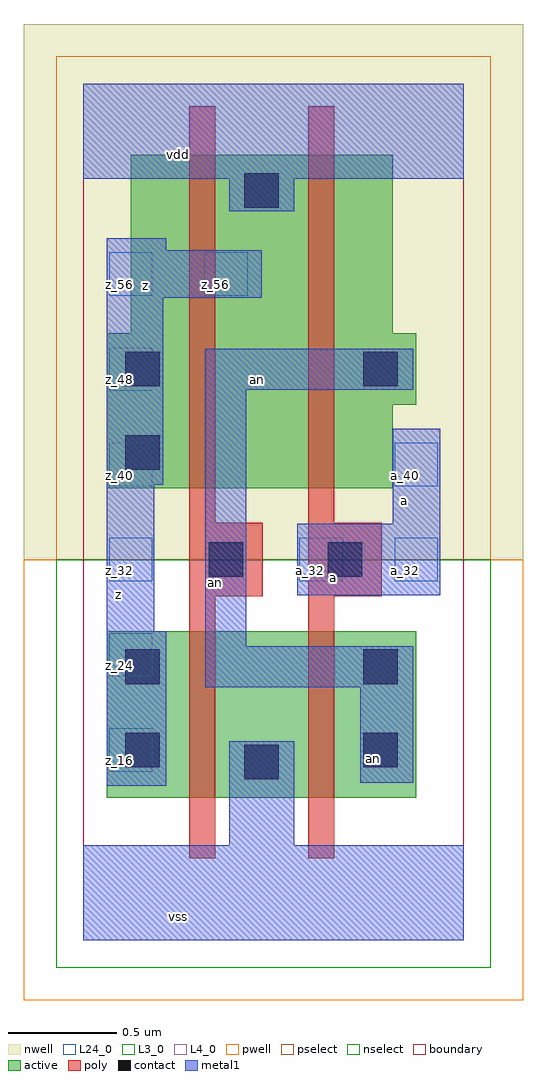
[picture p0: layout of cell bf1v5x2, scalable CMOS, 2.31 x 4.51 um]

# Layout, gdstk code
import gdstk
lib = gdstk.Library(unit=1e-6, precision=2.5e-09)
def R(c, l, rs):  # rectangles x0, y0, x1, y1
    for r in rs: c.add(gdstk.rectangle(r[:2], r[2:], *l))
def A(c, l, x, y, w, h, nx, ny, dx, dy):  # array of equal rectangles
    R(c, l, [(x+i*dx, y+j*dy, x+i*dx+w, y+j*dy+h) for i in range(nx) for j in range(ny)])
L3_0 = (3, 0)
L4_0 = (4, 0)
L24_0 = (24, 0)
contact = (25, 0)
pwell = (41, 0)
nwell = (42, 0)
active = (43, 0)
pselect = (44, 0)
nselect = (45, 0)
poly = (46, 0)
metal1 = (49, 0)
boundary = (63, 0)

bf1v5x2 = lib.new_cell('bf1v5x2')
R(bf1v5x2, L3_0, [(0.11,0.66,1.54,1.43)])
R(bf1v5x2, L4_0, [(0.11,2.09,1.43,2.475), (0.11,2.475,1.54,2.805), (0.22,2.805,1.43,3.63)])
A(bf1v5x2, L24_0, 0.12, 0.78, 0.2, 0.2, 1, 6, 0, 0.44)
R(bf1v5x2, L24_0, [(1,1.66,1.2,1.86), (1.44,1.66,1.64,1.86), (1.44,2.1,1.64,2.3), (0.56,2.98,0.76,3.18)])
R(bf1v5x2, contact, [(0.745,0.745,0.905,0.905), (0.195,0.8,0.355,0.96), (1.295,0.8,1.455,0.96), (0.195,1.185,0.355,1.345), (1.295,1.185,1.455,1.345), (0.58,1.68,0.74,1.84), (1.13,1.68,1.29,1.84), (0.195,2.175,0.355,2.335), (0.195,2.56,0.355,2.72), (1.295,2.56,1.455,2.72), (0.745,3.385,0.905,3.545)])
R(bf1v5x2, pwell, [(-0.275,-0.275,2.035,1.76)])
R(bf1v5x2, nwell, [(-0.275,1.76,2.035,4.235)])
R(bf1v5x2, active, [(0.11,0.66,1.54,1.43), (0.11,2.09,1.43,2.475), (0.11,2.475,1.54,2.805), (0.22,2.805,1.43,3.63)])
R(bf1v5x2, pselect, [(-0.125,1.76,1.885,4.085)])
R(bf1v5x2, nselect, [(-0.125,-0.125,1.885,1.76)])
R(bf1v5x2, poly, [(0.49,0.38,0.61,1.59), (1.04,0.38,1.16,1.59), (0.49,1.59,0.83,1.93), (1.04,1.59,1.38,1.93), (0.49,1.93,0.61,3.855), (1.04,1.93,1.16,3.855)])
R(bf1v5x2, metal1, [(0,0,1.76,0.44), (0.675,0.44,0.975,0.92), (0.11,0.715,0.385,1.43), (1.28,0.73,1.525,1.17), (0.565,1.17,1.525,1.36), (0.565,1.36,0.755,2.545), (0.11,1.43,0.33,2.105), (0.99,1.595,1.65,1.925), (1.43,1.925,1.65,2.365), (0.11,2.105,0.37,2.97), (0.565,2.545,1.525,2.735), (0.11,2.97,0.825,3.19), (0.11,3.19,0.385,3.245), (0.675,3.37,0.975,3.52), (0,3.52,1.76,3.96)])
R(bf1v5x2, boundary, [(0,0,1.76,3.96)])
bf1v5x2.add(gdstk.Label('vss', (0.44,0.11), layer=49, texttype=0))
bf1v5x2.add(gdstk.Label('an', (1.34,0.84), layer=49, texttype=0))
bf1v5x2.add(gdstk.Label('a', (1.155,1.6775), layer=49, texttype=0))
bf1v5x2.add(gdstk.Label('a', (1.485,2.035), layer=49, texttype=0))
bf1v5x2.add(gdstk.Label('an', (0.6125,1.655), layer=49, texttype=0))
bf1v5x2.add(gdstk.Label('z', (0.165,1.5975), layer=49, texttype=0))
bf1v5x2.add(gdstk.Label('an', (0.805,2.5925), layer=49, texttype=0))
bf1v5x2.add(gdstk.Label('z', (0.2875,3.025), layer=49, texttype=0))
bf1v5x2.add(gdstk.Label('vdd', (0.44,3.63), layer=49, texttype=0))
bf1v5x2.add(gdstk.Label('z_56', (0.61,3.03), layer=24, texttype=0))
bf1v5x2.add(gdstk.Label('a_32', (1.05,1.71), layer=24, texttype=0))
bf1v5x2.add(gdstk.Label('a_32', (1.49,1.71), layer=24, texttype=0))
bf1v5x2.add(gdstk.Label('a_40', (1.49,2.15), layer=24, texttype=0))
bf1v5x2.add(gdstk.Label('z_16', (0.17,0.83), layer=24, texttype=0))
bf1v5x2.add(gdstk.Label('z_24', (0.17,1.27), layer=24, texttype=0))
bf1v5x2.add(gdstk.Label('z_32', (0.17,1.71), layer=24, texttype=0))
bf1v5x2.add(gdstk.Label('z_40', (0.17,2.15), layer=24, texttype=0))
bf1v5x2.add(gdstk.Label('z_48', (0.17,2.59), layer=24, texttype=0))
bf1v5x2.add(gdstk.Label('z_56', (0.17,3.03), layer=24, texttype=0))

lib.write_gds('bf1v5x2.gds')
